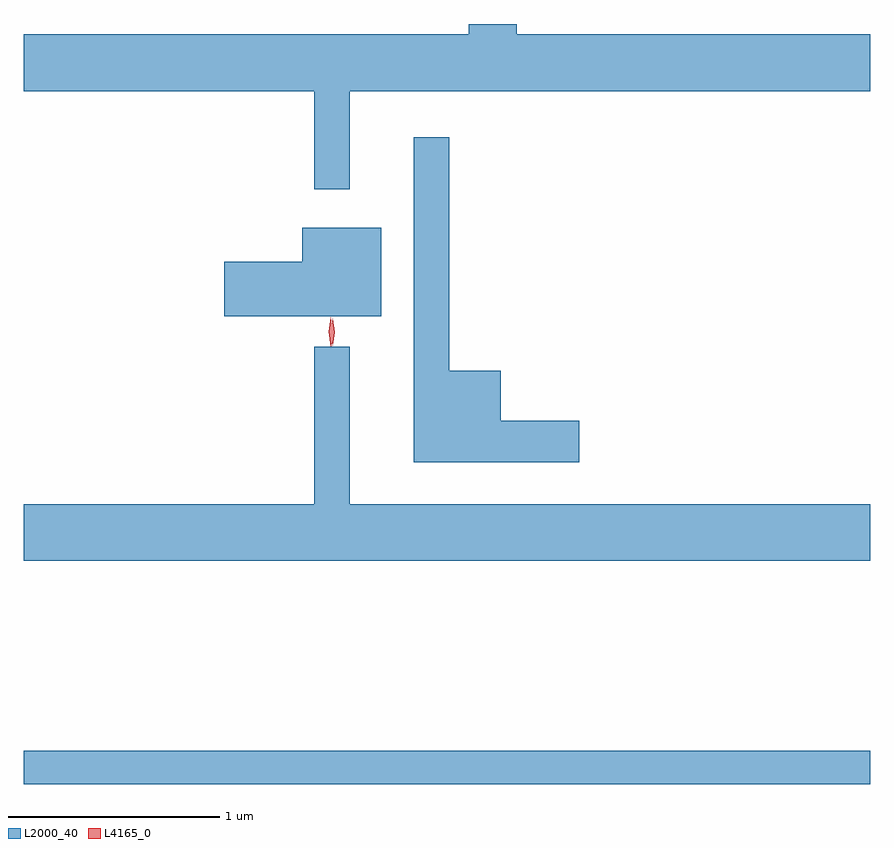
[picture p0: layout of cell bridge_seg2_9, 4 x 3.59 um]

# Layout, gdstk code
import gdstk
lib = gdstk.Library(unit=1e-6, precision=1e-09)
def R(c, l, rs):  # rectangles x0, y0, x1, y1
    for r in rs: c.add(gdstk.rectangle(r[:2], r[2:], *l))
def P(c, l, *ps):  # polygons
    for p in ps: c.add(gdstk.Polygon(p, *l))
L2000_40 = (2000, 40)
L4165_0 = (4165, 0)

bridge_seg2_9 = lib.new_cell('bridge_seg2_9')
R(bridge_seg2_9, L2000_40, [(1834.579,1078.341,1838.579,1078.499)])
P(bridge_seg2_9, L2000_40, [(1836.119,1081.616),(1838.579,1081.616),(1838.579,1081.884),(1836.909,1081.884),(1836.909,1081.933),(1836.681,1081.933),(1836.681,1081.884),(1834.579,1081.884),(1834.579,1081.616),(1835.951,1081.616),(1835.951,1081.153),(1836.119,1081.153)],
  [(1837.204,1080.059),(1836.834,1080.059),(1836.834,1080.294),(1836.589,1080.294),(1836.589,1081.398),(1836.421,1081.398),(1836.421,1079.861),(1837.204,1079.861)],
  [(1836.269,1080.969),(1835.896,1080.969),(1835.896,1080.809),(1835.526,1080.809),(1835.526,1080.551),(1836.269,1080.551)],
  [(1838.579,1079.664),(1836.119,1079.664),(1836.119,1080.408),(1835.951,1080.408),(1835.951,1079.664),(1834.579,1079.664),(1834.579,1079.396),(1838.579,1079.396)])
P(bridge_seg2_9, L4165_0, [(1836.03,1080.41),(1836.03,1080.41),(1836.02,1080.478),(1836.029,1080.545),(1836.03,1080.546),(1836.03,1080.545),(1836.04,1080.478),(1836.031,1080.41)],
  [(1836.038,1080.413),(1836.038,1080.414),(1836.029,1080.476),(1836.039,1080.539),(1836.04,1080.54),(1836.04,1080.539),(1836.049,1080.476),(1836.039,1080.414)])

lib.write_gds('bridge_seg2_9.gds')
